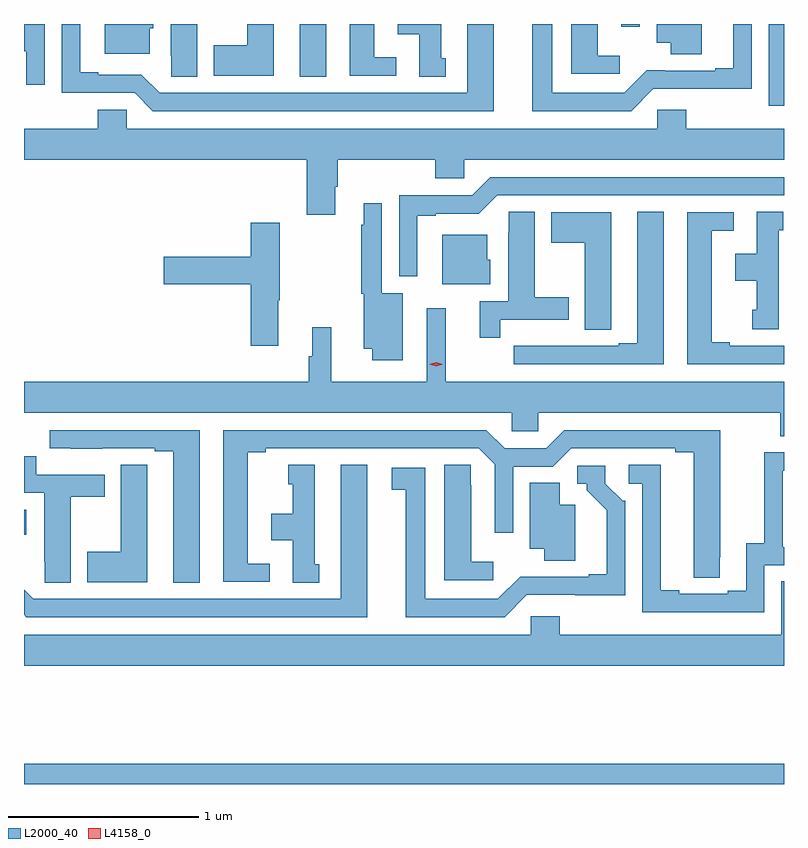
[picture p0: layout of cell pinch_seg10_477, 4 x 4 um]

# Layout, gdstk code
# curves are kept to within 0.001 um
import gdstk
lib = gdstk.Library(unit=1e-6, precision=1e-09)
def R(c, l, rs):  # rectangles x0, y0, x1, y1
    for r in rs: c.add(gdstk.rectangle(r[:2], r[2:], *l))
def P(c, l, *ps):  # polygons
    for p in ps: c.add(gdstk.Polygon(p, *l))
L2000_40 = (2000, 40)
L4158_0 = (4158, 0)

pinch_seg10_477 = lib.new_cell('pinch_seg10_477')
R(pinch_seg10_477, L2000_40, [(168.597,1297.03,172.597,1297.136), (168.597,1298.343,168.61,1298.473), (172.518,1300.599,172.597,1301.03), (170.048,1300.753,170.188,1301.03), (171.741,1301.016,171.837,1301.03)])
P(pinch_seg10_477, L2000_40, [(170.818,1300.851),(170.794,1300.851),(170.794,1301.03),(170.564,1301.03),(170.564,1300.976),(170.678,1300.976),(170.678,1300.753),(170.818,1300.753)],
  [(171.909,1300.689),(172.428,1300.688),(172.428,1301.03),(172.331,1301.03),(172.331,1300.798),(172.235,1300.798),(172.235,1300.785),(171.874,1300.786),(171.756,1300.668),(171.376,1300.668),(171.376,1301.03),(171.272,1301.03),(171.272,1300.572),(171.792,1300.572)],
  [(170.557,1300.854),(170.44,1300.854),(170.44,1301.03),(170.312,1301.03),(170.312,1300.758),(170.557,1300.758)],
  [(168.705,1301.03),(168.597,1301.03),(168.597,1300.886),(168.608,1300.886),(168.608,1300.71),(168.705,1300.71)],
  [(171.733,1300.864),(171.616,1300.864),(171.616,1301.03),(171.476,1301.03),(171.476,1300.767),(171.733,1300.767)],
  [(172.165,1301.03),(171.926,1301.03),(171.926,1300.931),(172.001,1300.931),(172.001,1300.87),(172.165,1300.87)],
  [(169.912,1301.03),(169.772,1301.03),(169.772,1300.917),(169.595,1300.917),(169.595,1300.757),(169.912,1300.757)],
  [(171.07,1301.03),(170.93,1301.03),(170.93,1300.668),(169.311,1300.668),(169.215,1300.764),(168.988,1300.764),(168.988,1300.777),(168.892,1300.777),(168.892,1301.03),(168.795,1301.03),(168.795,1300.668),(169.179,1300.668),(169.275,1300.572),(171.07,1300.572)],
  [(169.51,1301.03),(169.37,1301.03),(169.37,1300.864),(169.371,1300.864),(169.371,1300.753),(169.51,1300.753)],
  [(169.258,1301.007),(169.276,1301.007),(169.276,1301.03),(169.022,1301.03),(169.022,1300.874),(169.258,1300.874)],
  [(170.236,1300.174),(170.249,1300.174),(170.249,1300.316),(170.762,1300.316),(170.762,1300.218),(170.913,1300.218),(170.913,1300.316),(172.597,1300.316),(172.597,1300.48),(172.082,1300.48),(172.082,1300.578),(171.93,1300.578),(171.93,1300.48),(169.137,1300.48),(169.137,1300.578),(168.986,1300.578),(168.986,1300.48),(168.597,1300.48),(168.597,1300.316),(170.084,1300.316),(170.084,1300.026),(170.236,1300.026)],
  [(170.668,1300.02),(170.764,1300.02),(170.764,1300.032),(170.991,1300.032),(171.087,1300.128),(172.597,1300.128),(172.597,1300.224),(171.051,1300.224),(170.955,1300.128),(170.571,1300.128),(170.571,1299.702),(170.668,1299.702)],
  [(170.59,1299.613),(170.481,1299.613),(170.481,1300.087),(170.384,1300.087),(170.384,1299.974),(170.373,1299.974),(170.373,1299.609),(170.384,1299.609),(170.384,1299.32),(170.429,1299.32),(170.429,1299.261),(170.59,1299.261)],
  [(171.104,1299.474),(171.463,1299.474),(171.463,1299.591),(171.286,1299.591),(171.286,1300.043),(171.147,1300.043),(171.147,1299.932),(171.146,1299.932),(171.146,1299.57),(170.996,1299.57),(170.996,1299.378),(171.104,1299.378)],
  [(171.964,1300.043),(171.824,1300.043),(171.824,1299.351),(171.728,1299.351),(171.728,1299.336),(171.452,1299.336),(171.452,1299.337),(171.286,1299.337),(171.286,1299.336),(171.174,1299.336),(171.174,1299.24),(171.964,1299.24)],
  [(172.57,1299.945),(172.594,1299.945),(172.594,1300.043),(172.454,1300.043),(172.454,1299.82),(172.34,1299.82),(172.34,1299.68),(172.454,1299.68),(172.454,1299.525),(172.43,1299.525),(172.43,1299.423),(172.57,1299.423)],
  [(171.687,1299.529),(171.688,1299.529),(171.688,1300.039),(171.371,1300.039),(171.371,1299.88),(171.548,1299.88),(171.548,1299.421),(171.687,1299.421)],
  [(172.597,1299.336),(172.312,1299.336),(172.312,1299.356),(172.216,1299.356),(172.216,1299.942),(172.333,1299.942),(172.333,1300.038),(172.088,1300.038),(172.088,1299.24),(172.597,1299.24)],
  [(169.936,1299.575),(169.944,1299.575),(169.944,1299.985),(169.79,1299.985),(169.79,1299.806),(169.332,1299.806),(169.332,1299.659),(169.79,1299.659),(169.79,1299.336),(169.936,1299.336)],
  [(171.052,1299.789),(171.034,1299.789),(171.034,1299.922),(170.798,1299.922),(170.798,1299.659),(171.052,1299.659)],
  [(171.165,1298.886),(171.303,1298.886),(171.303,1298.984),(172.576,1298.984),(172.576,1298.86),(172.597,1298.86),(172.597,1299.148),(170.816,1299.148),(170.816,1299.535),(170.718,1299.535),(170.718,1299.148),(170.213,1299.148),(170.213,1299.433),(170.114,1299.433),(170.114,1299.282),(170.095,1299.282),(170.095,1299.148),(168.597,1299.148),(168.597,1298.984),(171.165,1298.984)],
  [(169.891,1298.19),(169.774,1298.19),(169.774,1298.776),(169.87,1298.776),(169.87,1298.796),(170.991,1298.796),(171.075,1298.712),(171.075,1298.352),(171.171,1298.352),(171.171,1298.7),(171.381,1298.7),(171.477,1298.796),(172.025,1298.796),(172.025,1298.776),(172.121,1298.776),(172.121,1298.116),(172.26,1298.116),(172.261,1298.892),(171.441,1298.892),(171.345,1298.796),(171.127,1298.796),(171.031,1298.892),(169.646,1298.892),(169.646,1298.094),(169.891,1298.094)],
  [(169.522,1298.892),(168.732,1298.892),(168.732,1298.796),(168.844,1298.796),(168.844,1298.795),(169.01,1298.795),(169.01,1298.796),(169.286,1298.796),(169.286,1298.781),(169.382,1298.781),(169.382,1298.089),(169.522,1298.089)],
  [(172.494,1298.181),(172.597,1298.181),(172.597,1298.277),(172.59,1298.277),(172.59,1298.678),(172.592,1298.678),(172.592,1298.679),(172.597,1298.679),(172.597,1298.775),(172.492,1298.775),(172.492,1298.297),(172.397,1298.297),(172.397,1298.046),(172.301,1298.046),(172.301,1298.031),(172.045,1298.031),(172.045,1298.051),(171.949,1298.051),(171.949,1298.711),(171.78,1298.711),(171.78,1298.61),(171.852,1298.61),(171.852,1297.935),(172.494,1297.935)],
  [(168.844,1298.542),(169.021,1298.542),(169.021,1298.658),(168.662,1298.658),(168.662,1298.755),(168.597,1298.755),(168.597,1298.562),(168.704,1298.562),(168.704,1298.2),(168.705,1298.2),(168.705,1298.089),(168.844,1298.089)],
  [(169.246,1298.603),(169.245,1298.603),(169.245,1298.711),(169.106,1298.711),(169.106,1298.253),(168.929,1298.253),(168.929,1298.093),(169.246,1298.093)],
  [(171.067,1298.2),(170.95,1298.2),(170.95,1298.603),(170.949,1298.603),(170.949,1298.711),(170.81,1298.711),(170.81,1298.103),(171.067,1298.103)],
  [(170.152,1298.187),(170.128,1298.187),(170.128,1298.71),(169.988,1298.71),(169.988,1298.607),(170.012,1298.607),(170.012,1298.452),(169.898,1298.452),(169.898,1298.312),(170.012,1298.312),(170.012,1298.089),(170.152,1298.089)],
  [(170.404,1298.71),(170.264,1298.71),(170.264,1298.004),(168.645,1298.004),(168.597,1298.052),(168.597,1297.92),(168.609,1297.908),(170.404,1297.908)],
  [(171.243,1298.025),(171.762,1298.024),(171.762,1298.52),(171.747,1298.52),(171.657,1298.61),(171.657,1298.706),(171.51,1298.706),(171.51,1298.61),(171.56,1298.61),(171.56,1298.575),(171.665,1298.47),(171.665,1298.134),(171.569,1298.134),(171.569,1298.121),(171.208,1298.122),(171.09,1298.004),(170.71,1298.004),(170.71,1298.694),(170.532,1298.694),(170.532,1298.578),(170.606,1298.578),(170.606,1297.908),(171.126,1297.908)],
  [(171.499,1298.5),(171.418,1298.5),(171.418,1298.615),(171.26,1298.615),(171.26,1298.267),(171.335,1298.267),(171.335,1298.206),(171.499,1298.206)],
  [(172.597,1298.096),(172.583,1298.096),(172.583,1297.816),(171.416,1297.816),(171.416,1297.914),(171.264,1297.914),(171.264,1297.816),(168.597,1297.816),(168.597,1297.652),(172.597,1297.652)])
P(pinch_seg10_477, L4158_0, [(170.766,1299.229),(170.731,1299.239),(170.731,1299.239),(170.731,1299.239),(170.766,1299.249),(170.801,1299.239),(170.802,1299.239),(170.801,1299.239)])

lib.write_gds('pinch_seg10_477.gds')
